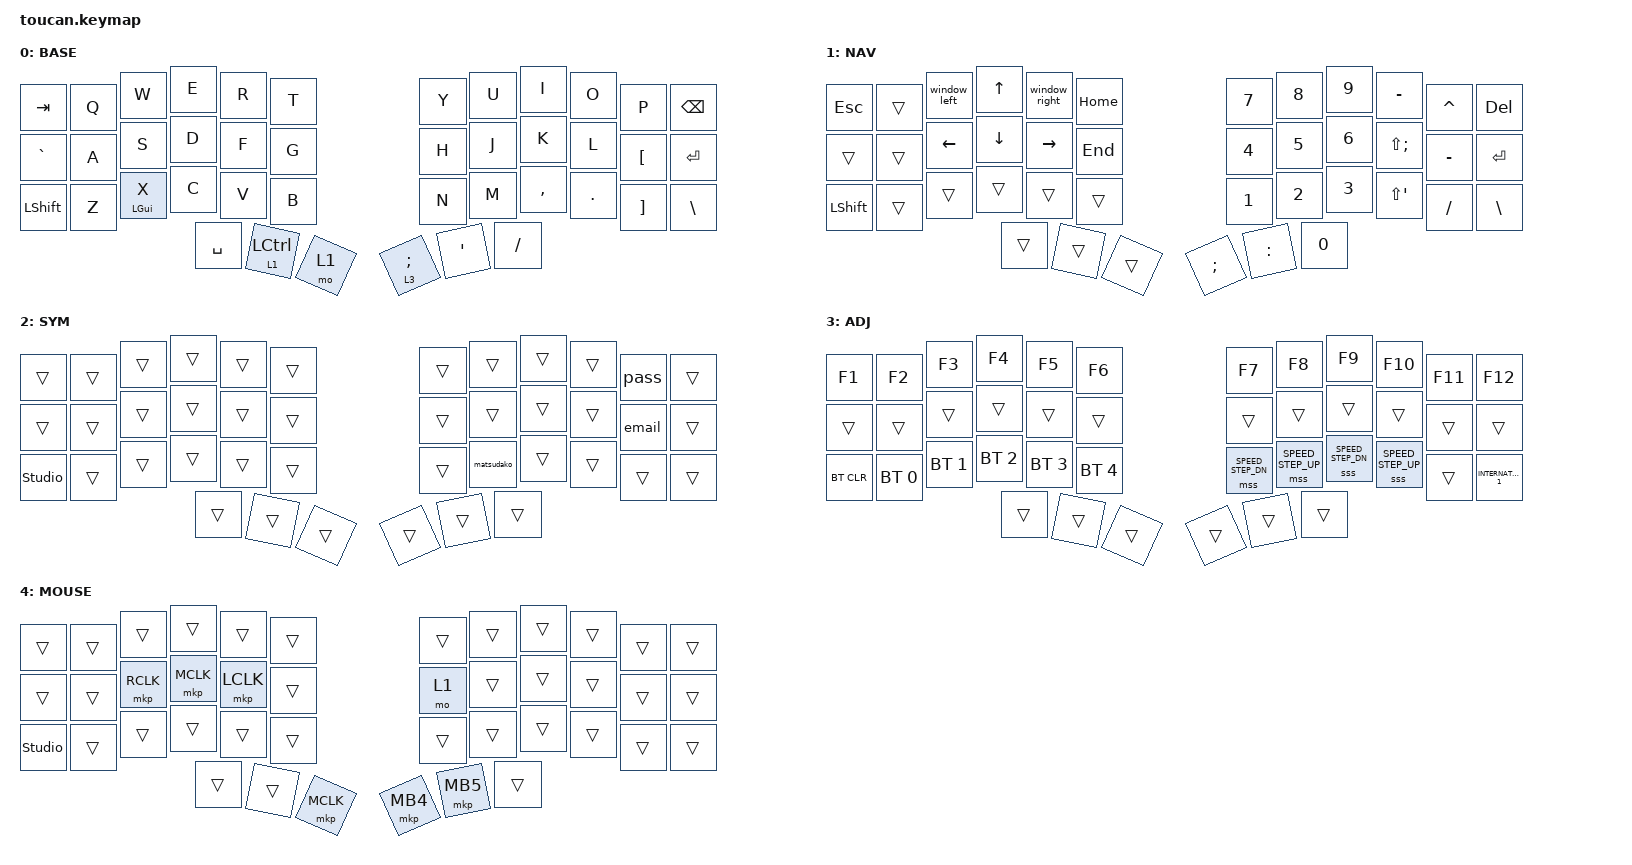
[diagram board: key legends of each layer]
#include <dt-bindings/zmk/mouse.h>
#include <dt-bindings/zmk/speed_step.h>
#include <behaviors.dtsi>
#include <dt-bindings/zmk/bt.h>
#include <dt-bindings/zmk/keys.h>
#include <dt-bindings/zmk/pointing.h>

#define BASE     0
#define NAV      1
#define SYM      2
#define ADJ      3
#define MOUSE    4

/ {
    behaviors {
        mss: mouse_speed_step {
            compatible = "zmk,behavior-speed-step";
            #binding-cells = <1>;
            processor = <&mouse_speed>;
        };

        sss: scroll_speed_step {
            compatible = "zmk,behavior-speed-step";
            #binding-cells = <1>;
            processor = <&scroll_speed>;
        };
    };

    conditional_layers { compatible = "zmk,conditional-layers"; };

    macros {
        window_left: window_left {
            compatible = "zmk,behavior-macro";
            #binding-cells = <0>;
            bindings = <&kp LG(LEFT)>;
            label = "WINDOW_LEFT";
        };

        window_right: window_right {
            compatible = "zmk,behavior-macro";
            #binding-cells = <0>;
            bindings = <&kp LG(RIGHT)>;
            label = "WINDOW_RIGHT";
        };

        pass: pass {
            compatible = "zmk,behavior-macro";
            #binding-cells = <0>;
            bindings = <&kp P &kp A &kp S &kp U &kp D &kp LS(A) &kp Y &kp O &kp N9 &kp N6 &kp EXCL>;
            label = "PASS";
        };

        matsudako: matsudako {
            compatible = "zmk,behavior-macro";
            #binding-cells = <0>;
            bindings = <&kp M &kp A &kp T &kp S &kp U &kp D &kp A &kp K &kp O>;
            label = "MATSUDAKO";
        };

        email: email {
            compatible = "zmk,behavior-macro";
            #binding-cells = <0>;
            bindings = <&kp K &kp O &kp U &kp S &kp A &kp K &kp U &kp DOT &kp M &kp A &kp T &kp S &kp U &kp D &kp A &kp DOT &kp R &kp K &kp LEFT_BRACKET &kp S &kp N1 &kp DOT &kp N &kp T &kp T &kp D &kp O &kp C &kp O &kp M &kp O>;
            label = "EMAIL";
        };
    };

    keymap {
        compatible = "zmk,keymap";

        base {
            display-name = "BASE";
            bindings = <
&kp TAB  &kp Q  &kp W  &kp E  &kp R  &kp T  &kp Y  &kp U  &kp I  &kp O  &kp P  &kp BSPC  &kp GRAVE  &kp A  &kp S  &kp D  &kp F  &kp G  &kp H  &kp J  &kp K  &kp L  &kp LEFT_BRACKET  &kp ENTER  &kp LSHFT  &kp Z  &mt LEFT_GUI X  &kp C  &kp V  &kp B  &kp N  &kp M  &kp COMMA  &kp DOT  &kp RIGHT_BRACKET  &kp BACKSLASH  &kp SPACE  &lt 1 LCTRL  &mo 1  &lt 3 SEMICOLON  &kp SQT  &kp SLASH
            >;
        };

        nav {
            display-name = "NAV";
            bindings = <
&kp ESC  &trans  &window_left  &kp UP  &window_right  &kp HOME  &kp N7  &kp N8  &kp N9  &kp MINUS  &kp CARET  &kp DEL  &trans  &trans  &kp LEFT  &kp DOWN  &kp RIGHT  &kp END  &kp N4  &kp N5  &kp N6  &kp LS(SEMICOLON)  &kp MINUS  &kp RET  &kp LSHFT  &trans  &trans  &trans  &trans  &trans  &kp N1  &kp N2  &kp N3  &kp LS(SQT)  &kp SLASH  &kp BACKSLASH  &trans  &trans  &trans  &kp SEMI  &kp COLON  &kp N0
            >;
        };

        sym {
            display-name = "SYM";
            bindings = <
&trans  &trans  &trans  &trans  &trans  &trans  &trans  &trans  &trans  &trans  &pass  &trans  &trans  &trans  &trans  &trans  &trans  &trans  &trans  &trans  &trans  &trans  &email  &trans  &studio_unlock  &trans  &trans  &trans  &trans  &trans  &trans  &matsudako  &trans  &trans  &trans  &trans  &trans  &trans  &trans  &trans  &trans  &trans
            >;
        };

        adj {
            display-name = "ADJ";

            // Right bottom row: Mouse speed DN/UP, Scroll speed DN/UP

            bindings = <
&kp F1  &kp F2  &kp F3  &kp F4  &kp F5  &kp F6  &kp F7  &kp F8  &kp F9  &kp F10  &kp F11  &kp F12  &trans  &trans  &trans  &trans  &trans  &trans  &trans  &trans  &trans  &trans  &trans  &trans  &bt BT_CLR  &bt BT_SEL 0  &bt BT_SEL 1  &bt BT_SEL 2  &bt BT_SEL 3  &bt BT_SEL 4  &mss SPEED_STEP_DN  &mss SPEED_STEP_UP  &sss SPEED_STEP_DN  &sss SPEED_STEP_UP  &trans  &kp INTERNATIONAL_1  &trans  &trans  &trans  &trans  &trans  &trans
            >;
        };

        mouse {
            display-name = "MOUSE";
            bindings = <
&trans  &trans  &trans  &trans  &trans  &trans  &trans  &trans  &trans  &trans  &trans  &trans  &trans  &trans  &mkp RCLK  &mkp MCLK  &mkp LCLK  &trans  &mo 1  &trans  &trans  &trans  &trans  &trans  &studio_unlock  &trans  &trans  &trans  &trans  &trans  &trans  &trans  &trans  &trans  &trans  &trans  &trans  &trans  &mkp MCLK  &mkp MB4  &mkp MB5  &trans
            >;
        };
    };
};
